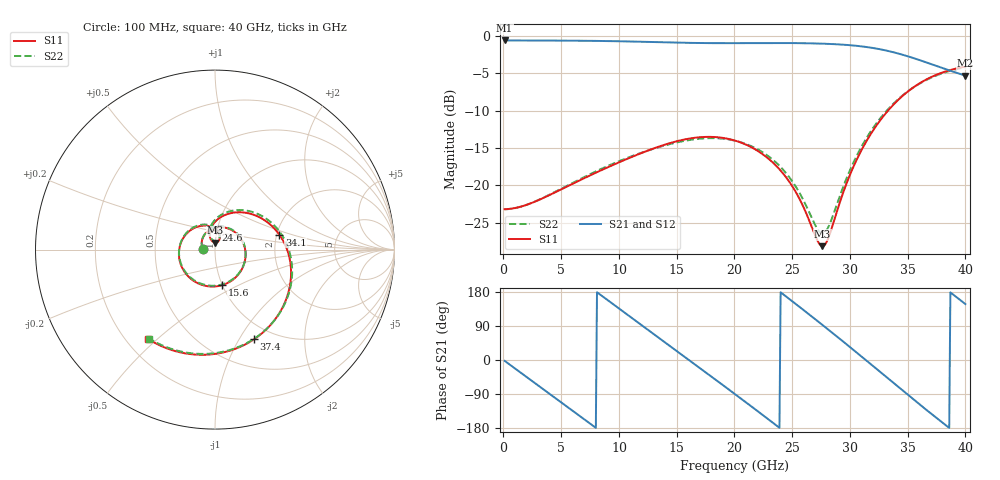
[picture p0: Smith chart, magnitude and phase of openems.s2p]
! C_s8_nfp: L1→L8, antipad Ø0.9, non-functional pads kept
! stackup: 8-layer 1.6 mm FR-4 (generic)
! ports: 1, 2
! openEMS 0.37.0, staircase, fine mesh (dfine 0.0175 mm), 1331820 cells
# Hz S RI R 50
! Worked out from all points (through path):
!   400 points, 100 MHz to 40 GHz, reference 50 ohm
!   highest |S21| = -0.62 dB at 100 MHz (marker M1); lowest = -5.3 dB at 40 GHz (marker M2)
!   group delay of S21, straight-line fit = 64.6 ps
!   lowest |S11| = -28.1 dB at 27.6 GHz (marker M3), VSWR 1.08, Z = 50.1 + j3.93 ohm
!   |S11| at or under -10 dB: start of sweep to 33.3 GHz
!   |S22| runs from -26.4 to -4.2 dB; largest |S21 - S12| = 0.0051
!   S11 on the Smith chart (normalised r, x): 100 MHz: 0.87, +0.00; 15.6 GHz: 1.00, -0.41; 24.6 GHz: 0.99, +0.22; 34.1 GHz: 2.06, +0.40; 37.4 GHz: 0.81, -1.16; 40 GHz: 0.29, -0.46
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1e8  -0.0693 0.000691  0.9299 -0.0363  0.9299 -0.0363  -0.0692 0.000718
1.7e9  -0.0716 0.0134  0.7333 -0.5725  0.7333 -0.5725  -0.0715 0.0138
3.6e9  -0.0742 0.038  0.1544 -0.9166  0.1543 -0.9166  -0.0742 0.0389
5.1e9  -0.0674 0.0667  -0.3775 -0.8482  -0.3776 -0.8481  -0.0675 0.0681
6.8e9  -0.0383 0.103  -0.8185 -0.4339  -0.8184 -0.4338  -0.0386 0.1049
8.7e9  0.0295 0.1252  -0.8926 0.2342  -0.8924 0.234  0.029 0.1281
1.07e10  0.1224 0.0871  -0.4636 0.7912  -0.4639 0.7909  0.1221 0.0912
1.34e10  0.1618 -0.0809  0.4569 0.7829  0.4567 0.7836  0.163 -0.0754
1.56e10  0.0397 -0.1982  0.8835 0.1617  0.8845 0.1621  0.0421 -0.1933
1.76e10  -0.122 -0.172  0.7359 -0.5069  0.7364 -0.508  -0.12 -0.1681
2.01e10  -0.1987 0.00608  -0.018 -0.8926  -0.0191 -0.8929  -0.1983 0.01
2.26e10  -0.0907 0.1297  -0.7636 -0.466  -0.7637 -0.4653  -0.0917 0.1354
2.46e10  0.00602 0.1097  -0.8625 0.2366  -0.8624 0.2365  0.00515 0.1173
2.67e10  0.0206 0.0484  -0.3728 0.8081  -0.373 0.8084  0.0207 0.0569
2.76e10  0.00217 0.0392  -0.0476 0.8847  -0.0476 0.8852  0.00247 0.0476
2.9e10  -0.0275 0.0663  0.452 0.7506  0.4524 0.7507  -0.0276 0.0747
3.07e10  7.29e-05 0.1547  0.8185 0.2469  0.8182 0.2468  -0.00166 0.164
3.34e10  0.2792 0.1616  0.493 -0.6156  0.4944 -0.614  0.2767 0.1781
3.41e10  0.358 0.084  0.2742 -0.7135  0.2769 -0.7127  0.3574 0.1031
3.56e10  0.4206 -0.1807  -0.2001 -0.6766  -0.1977 -0.6798  0.4282 -0.1594
3.74e10  0.217 -0.4998  -0.5501 -0.3117  -0.5534 -0.3153  0.233 -0.4865
4e10  -0.375 -0.4964  -0.4571 0.2902  -0.4593 0.2947  -0.3662 -0.4957
